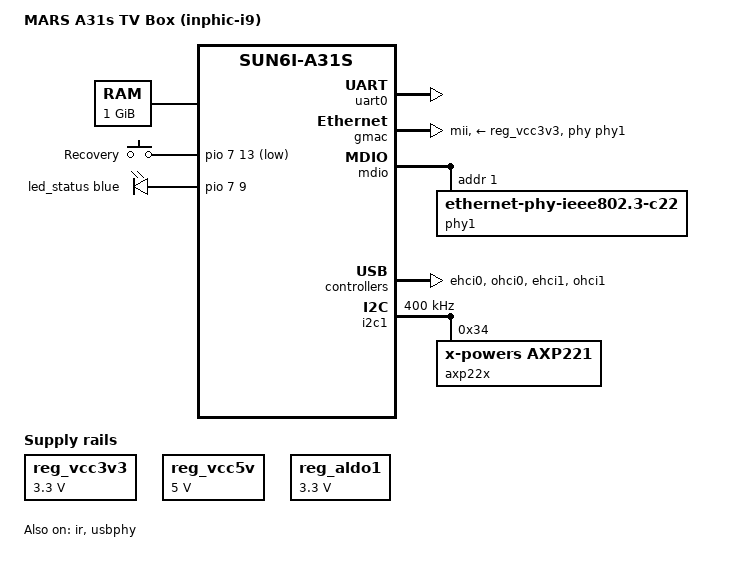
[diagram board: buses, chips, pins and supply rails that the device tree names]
/*
 * sun6i-a31s-mars-a31s.dts
 *
 * 目标设备：MARS A31s 电视盒子（inphic-i9 公版方案）
 *           Allwinner A31s (sun6i-a31s, quad Cortex-A7) + 1GB DDR3
 *           + 16GB NAND (4x H27UBG8T2B, 双通道/4 片选)
 * 移植目标：OpenWrt / Lean LEDE，主线内核 6.x
 *
 * ============================================================
 *  【本文件所有参数的来源分级 —— 改之前先看这里】
 * ============================================================
 *  [A] 实锤：安卓 TTL 串口日志 + adb shell + sys_config.fex + /proc/partitions
 *            + U-Boot mii/mdio 回显 + 官方 v6.12.119 源码逐字 互证
 *  [B] 公版推断：内核自带 sina31s-sdk.dts（同 SoC 官方开发板，见 ★改动8）
 *  [C] 未实测：照 A31 参考设计猜的，可能需要改 —— 全文搜 ⚠️ 定位
 *
 *  已知结论清单（[A] 级，不要改）：
 *    SoC       : sun6i-a31s，不是 sun6i-a31（A31 与 A31s 引脚/时钟有差异）
 *    DRAM      : 1GB DDR3 16bit 400MHz, dcdc5=1500mV, dram_zq=0xBB (fex [dram_para])
 *                ★改动6 依据: boot0 "dram size=1024" + U-Boot "DRAM: 1 GiB"
 *                            + /proc/iomem "40000000-430fffff / 4cb00000-7fffffff"
 *                              末址 0x7fffffff → 精确 1 GiB，三处互证
 *    PMIC      : AXP221 @ I2C 0x34 on TWI1 (PH16/17)，fex [pmu_para] 实锤
 *                DLDO1→网口PHY  DLDO4→axp_0  ALDO1→WiFi  DCDC5→DDR3
 *                U-Boot 日志逐字复述: dcdc1 3000 / dcdc2 1200 / dcdc3 1260
 *                                    dcdc4 1240 / dcdc5 1500 / aldo2 1800 / aldo3 3000
 *                ★改动14：本文件【不】声明 AXP221 节点，内核不建模任何 PMIC 轨；
 *                          这与「PMIC 硬件存在」不矛盾，U-Boot 按 script.bin 配好后原样保持。
 *    NAND      : H27UBG8T2B x8 MLC，页 8192+640 / 块 2MiB / ECC 20bit@1024B
 *                NAND ID = 4b248889（日志实测），chip_cnt=4
 *                nand_p0=0x28010020  nand_p1=0x00eeeeee（fex [nand0_para]）
 *    PHY       : ★改动15 校正 —— 板上真 PHY 是 IC+ IP101A / IP101G（10/100 MII），
 *                硬件 ID 0x02430C54。U-Boot "mii read 1 2 / 1 3" = 0243 / 0C54，
 *                "mii info 1" = OUI 0x90C3 Model 0x05 Rev 0x04 100baseT FDX，
 *                "mii read 1 0-5" range 六值全一致，官方 v6.12.119 icplus.c:67
 *                逐字 "#define IP101A_PHY_ID 0x02430c54" 双源互证。
 *                原「RTL8201F 系列」标注【收回】：那只是对 MDIO 地址 1 + MII 的误标，
 *                地址 0x01、MII 模式（fex gmac_interface=1）仍有效。
 *                U-Boot 交接态 BMCR 3100 / BMSR 786D = 已上电、Power Down=0、
 *                Reset 已自清、Link Up、AN Complete、100M 全双工；reg16 = 0000。
 *    WiFi      : RTL8188ETV，USB 0bda:0179，走 USB 自动枚举，DTS 零节点
 *                fex wifi_mod_sel=6 / wifi_usbc_id=1 / wifi_power=axp22_aldo1
 *    串口      : UART0 = PH20(TX)/PH21(RX)，115200n8
 *                ★ fex [uart_para] 实锤 + /proc/iomem "01c28000/01c28800 sw_serial"
 *                  上游 sun6i-a31.dtsi 的 uart0_ph_pins 也是这两脚
 *                  原写 PH0/PH1 是错的（见 ★改动1）
 *    IR        : PL04, 电源键码 0x1A, addr 0xFB04（fex [ir_para]）
 *                ★改动8/11: 引脚组 s_ir_rx_pin 由上游 sun6i-a31.dtsi
 *                  的 r_pio 提供（PL4 / function = "s_ir"），本文件不自造
 *    按键      : PH13 = sprite_gpio0 卡刷键（fex [card_boot]/[boot_init_gpio]）
 *                ★ 注意：官方 sina31s-sdk.dts 把 PH13 当状态 LED，
 *                  本机 PH13 是卡刷键、PH09 才是蓝灯 —— 【不要照抄官方 LED】
 *    mmc0      : ★改动7 —— 卡槽【硬件存在但无卡】（日志 "cmd 8 timeout" =
 *                无卡响应；fex [mmc0_para] sdc_used=1 + PA4 CD 脚说明硬件在）。
 *                官方 sina31s-sdk.dts 同写 cd-gpios = <&pio 0 4 GPIO_ACTIVE_LOW>
 *                （PA4），与本 .fex 完全一致。本文件仍【不声明】（FEL 阶段不需要）。
 *    HDMI      : GM7121 外接编码器，主线无驱动，本文件【不声明】disp/tv/hdmi
 *                （官方 sina31s 是 SoC 内置 HDMI，与本机不同，不可照抄 &hdmi）
 *    启动方式  : FEL 推内存 + initramfs，内核自带 rootfs，【不碰 NAND】
 *
 *  分区表（fex [partition] 与 /proc/partitions 双重验证，11/11 全对，单位 MB）：
 *    nanda=bootloader 16  nandb=env 16   nandc=boot 16   nandd=system 768
 *    nande=misc 16        nandf=recovery 32  nandg=private 16(keydata=1)
 *    nandh=databk 128     nandi=data 2560
 *    nandj=cache 32       ★改动6: 原写 512 —— fex 写 1048576 扇区(512M)，
 *                         但 U-Boot fastboot 实读 0x2000000 = 32MB，以实读为准
 *    nandk=UDISK 剩余(约 9714)
 *    ★ 没有任何单个分区是 16G，旧版把 system 写 400M/1568M/16G 全是错的
 *
 *  MAC 地址：
 *    wlan0 08:D8:33:0B:C4:03  ← IEEE 注册，真烧录，必保
 *    eth0  1E:47:EC:5F:E9:D9  ← 由 A31s SID efuse 算出，变则在
 *                                /etc/config/network 里 option macaddr 写死
 *    ★改动5: FEL 启动不跑原厂 U-Boot 的 SID 烧录逻辑，eth0 MAC 可能每次变，
 *            第一阶段就在 OpenWrt 侧写死，【不要】写进 DTS（会与 SID 冲突）。
 *            回退轮 ip -d link 实测 02:51:08:04:9a:70，与上面值不同，属已知漂移。
 *
 *  ★改动8（第二轮修正，依据官方 sun6i-a31s-sina31s-sdk.dts）：
 *    1) &gmac pinctrl-0: gmac_pins_mii（猜的）-> gmac_mii_pins（官方实名）
 *    2) &gmac phy-supply 曾改 &reg_dldo1（AXP221 DLDO1，官方名
 *       "vcc-gmac-phy" 3300mV，与 fex gmac_power=axp22_dldo1 吻合）
 *       —— ★改动13 又改过去，★改动14 已回退，原因见下
 *    3) IR: 删掉自造 ir_pl4_pin，改用官方节点 &ir + s_ir_rx_pin
 *       （★改动11 核实：该标签由上游 sun6i-a31.dtsi 的 r_pio 原生提供）
 *
 *  ★改动9（编译阻断级修复，第三轮）：
 *    删掉 #include "sun6i-a31s-sina31s-core.dtsi"
 *    —— 该文件第 43 行自带 /dts-v1/; 与本文件版本声明冲突，
 *       dtc 报 "core dtsi:43.1-9 syntax error" 直接 FATAL 中断 make dtbs。
 *    配套假设已被 ★改动11 推翻：gmac_mii_pins / s_ir_rx_pin 本来就由
 *    上游 sun6i-a31.dtsi 提供，自造附录反而造成 duplicate_label，
 *    现已整块删除，引用直接落到上游节点。
 *
 *  ★改动10（编译阻断级修复，第四轮）—— 收干净 ★改动9 的尾巴 + 原稿语法错：
 *    1) 第 255 行 label "led-status:" -> "led_status:"
 *       DTS label 不允许连字符，dtc 在主 dts:255.19-20 报 syntax error。
 *       这是原稿自带的错，之前被 dtsi:43 挡住没报出来（dtc 遇错即停）。
 *    2) 删掉悬挂的 &reg_dldo1 节点（其标签原本来自被删的 core dtsi），
 *       phy-supply 指回已声明的 reg_vcc3v3。
 *    3) 删掉附录里重复的第二份 &mdio / phy1（duplicate label + node），
 *       全文只保留 GMAC 章节一份。
 *    以上均为纯语法/引用层修复，【没动任何硬件值】：
 *       PH09 / PHY 地址 1 / MII / 1 GiB / 七路电压 全部保持实测值。
 *
 *  ★改动11（第五轮，依据用户提供的上游 sun6i-a31.dtsi 全文）：
 *    红点：sun6i-a31.dtsi:1397.29-1400.6 ERROR (duplicate_label)
 *          Duplicate label 's_ir_rx_pin' on
 *            /soc/pinctrl@1f02c00/s-ir-rx-pin  （上游 r_pio）
 *            /soc/pinctrl@1c20800/ir-rx-pin    （本文件自造附录）
 *    定性：dtc 已从 parse 进入 checks，是命名冲突，与引脚/电压/寄存器值无关。
 *    改动（同一根因：自造重复 pinctrl 组）：
 *      1) 删掉文件末尾附录整块 &pio，其中 gmac_mii_pins / s_ir_rx_pin
 *         与上游 label 重名（后者是当前红点，前者是排队等报的下一颗雷）。
 *         自造 IR 组还挂错控制器（PL4 属 r_pio 却塞进 pio）、
 *         function 写成 "ir"（上游为 "s_ir"）、MII 引脚列表也不对。
 *      2) 删掉自造 uart0_ph20_pins，&uart0 的 pinctrl-0 改指上游
 *         uart0_ph_pins（pins = "PH20","PH21" / function = "uart0"）。
 *      3) &gmac 的 &gmac_mii_pins、&ir 的 &s_ir_rx_pin 【一字不改】，
 *         删掉重名定义后自动解析到上游正确节点。
 *      4) &mdio 里重复的 #address-cells / #size-cells 删掉（上游
 *         snps,dwmac-mdio 已自带），贴合官方 sina31s-sdk.dts 写法。
 *    已核对上游原文，三组 label 名逐字一致，故引用无需改名。
 *    绝不使用 dtc -f 强制输出：重复 label 会让引用落到不确定节点。
 *
 *  ★改动12/13（第六轮，两刀一起落地）—— 【本轮都已修正/回退，留档不抹账】
 *    第一刀（★改动12）：phy1 的 compatible 换成 "ethernet-phy-id001c.c915"。
 *      原意是让专用 PHY 驱动被选中，治 "Failed to reset the dma"。
 *      后经源码 + 板上双重考证【判定写错，见 ★改动15】：该 ID 是 Realtek
 *      RTL8211E 千兆 PHY，且 DT 带 ethernet-phy-idXXXX.XXXX 时内核走
 *      phy_device_create() 直接注入、不读硬件 MDIO（官方 v6.12.119
 *      fwnode_mdio.c / phy_device.c 逐字），sysfs 的 phy_id 是自证循环。
 *    第二刀（★改动13）：在 &i2c1 下补 AXP221 最小节点 + DLDO1 真轨，
 *      &gmac phy-supply 指向它、&pio 补 vcc-pa-supply。
 *      上板 r8359 实锤：AXP221 读 ID 成功，但第一笔 I2C 写起
 *      "I2C bus locked, block: 1, time_left: 0"（3.859245 起每 2.080s 共 16 次），
 *      35.072531 "Failed to register dldo1" → 12.027480 gmac deferred probe
 *      pending → 第一刀挂空挡。干净 rebind 三次复现同模式，结构性不通。
 *
 *  ★改动14（第七轮，回退第二刀）—— 板上已验，当前基线
 *    改动（四处，全在本文件）：
 *      1) &gmac 的 phy-supply 由 &reg_dldo1 改回 &reg_vcc3v3
 *      2) 删掉 &i2c1 下整个 pmic@34（axp22x / dldo1）段，&i2c1 回到上游
 *         默认 disabled，内核不实例化这条总线上的任何设备
 *      3) 删掉 &pio 的 vcc-pa-supply（PA bank 回到 regulator-dummy，预期回归）
 *      4) 删掉只为 pmic@34 引入的 irq.h 头文件
 *    依据：官方 sun6i-a31.dtsi 的 gmac 节点本就不写 phy-supply，
 *      整份 dtsi 无 vcc3v3 / reg_vcc —— 「内核不通过 regulator 管这路网口电」
 *      就是上游基线，回退不是砍功能。
 *    回退轮锚点：rootfs 236,910,592 B / 0xE1EF800；
 *      fdt-1 23,988 B / crc32 160ad042 / sha1 efb7d0a272bbb1b6a1a9b65f9bc17a07e952fee6
 *      （DTS 改过，与 r8359 的 1bfa040b / f3476665... 不同，确认没吃缓存旧 dtb）；
 *      kernel sha1 6325d60d765f6f70d6fbf587c6d3e909b65fd79c。
 *      内核版本串仍是 6.12.119 ... Thu Nov 26 02:26:57 2026 / r8359-bc7f99dd4，
 *      与 r8359 逐字相同 —— 【锚点只能靠 FIT hash，不能靠版本串】。
 *    板上结果：无 I2C bus locked / 无 dldo1 / devices_deferred 空 /
 *      1.770106 打出 DWMAC1000 / 4.183049 绑 RTL8211E 千兆（错驱动，注入所致）；
 *      39.899343 "Failed to reset the dma" 回归老基线红点；
 *      0bda:0179 仍无枚举、wlan0 仍无。
 *      DT 级复核：i2c@1c2b000/status = disabled、pmic@34 与 supply 属性均无匹配、
 *      ethernet@1c30000/phy-supply 与 regulator-vcc3v3/phandle 同为 0x24。
 *
 *  ★改动15（本轮，唯一改动）—— 第一刀改回通用 c22，让内核真读硬件 ID
 *    证据链（板上逐字 + 官方 v6.12.119 源码逐字）：
 *      U-Boot "mii read 1 2 / 1 3" = 0243 / 0C54 → PHYID 0x02430C54；
 *      "mii dump 1 0/1" pretty-print 与逐位解读一致（Power Down=0 / Link Up /
 *      AN Complete / 100M FDX）；"mii read 1 0-5" range 六值全一致；
 *      "mii read 1 16" = 0000（IP10XX_SPEC_CTRL_STATUS，APS 未开）；
 *      "mdio list" = ethernet@1c30000: 1 - Generic PHY（U-Boot 侧绑定，
 *      与内核侧 DT 注入硬绑 RTL8211E 是两回事，别混）。
 *      官方 icplus.c:67 "#define IP101A_PHY_ID 0x02430c54"；驱动表两条
 *      "ICPlus IP101A" / "ICPlus IP101G"，用 ip101a_g_has_page_register()
 *      写 reg20 探测区分二者 —— 不预判最终绑哪条。
 *      MDIO 统计（回退轮内核侧）：transfers 41 / reads 24 / writes 17 / errors 0，
 *      mdio_bus.c 的 device 级组只统计 addr=1；但 0 errors 不等于读到有效数据
 *      （从机不响应读回 0xFFFF 是正数，照样计 reads 不计 errors）。
 *    改动：&mdio 的 phy1 只把 compatible 从
 *      "ethernet-phy-id001c.c915" 换成 "ethernet-phy-ieee802.3-c22"。
 *      官方 of_mdiobus_child_is_phy() 认 c22 → fwnode_mdiobus_register_phy()
 *      里 fwnode_get_phy_id() 对该串返回 -EINVAL → 走 get_phy_device()
 *      真读 MII_PHYSID1/2，顺带把「MDIO 通不通」一起验了。
 *      （整行删掉 compatible 等价，但留 c22 更贴近上游写法。）
 *      reg = <1> / phy-mode = "mii" / phy-handle / phy-supply 全部不动。
 *    一次只动一个变量：第一刀这一处之外，.config / yml / diy-part2.sh /
 *      kernel-patches/ 的 999-mv64xxx 补丁（已上板判无效、无害）一律不动。
 *    验收口（进 shell 后按顺序）：
 *      1) cat /sys/bus/mdio_bus/devices/stmmac-0:01/phy_id → 期望 0x02430c54
 *         若 PHY 注册失败 / 读回全 1，反而直接坐实内核阶段 MDIO 或 PHY 有问题
 *      2) cat 同目录 uevent、dmesg | grep -i -E 'ip101|icplus|PHY|stmmac'
 *         → 期望驱动名 ICPlus IP101A 或 ICPlus IP101G，不再是 RTL8211E
 *      3) dmesg | grep -i 'Failed to reset' → 看 DMA 红是否消失
 *      4) 查看 /sys/class/net 下的接口 → 看 eth0 是否真起来
 *    已知源码侧预期动作（不是异常）：绑上正确驱动后 ip101a_config_init()
 *      会 phy_set_bits(phydev, 16, BIT(1)) 开 Auto Power Saving，
 *      reg16 由 0000 变 0002 属正常；APS 是否影响 RXC 上板前不预判。
 *    诚实代价：DMA 红可能仍在。6.12 stmmac_main.c:1228 设
 *      mac_requires_rxc = true、mac_managed_pm = true，缺 6.18+ 那批
 *      phylink_prepare_resume() 补丁 → 「内核 probe→open 之间把 PHY 挂起、
 *      RXC 断掉 → dwmac_dma_reset() 写 SWR 后 200ms 不自清」仍是开着的推断，
 *      不是结论。若红还在，下一刀才轮到源码侧查 PM / 给 MAC 打 resume，
 *      【不是】把 ★改动13 的 TWI1 I2C 运行时注册原样贴回来。
 *    判定口径（用户拍板）：网口 + WiFi 都能用且固件正常运行 → I2C 这条线
 *      就不再回来；只有 DMA 红还在 / 0bda:0179 仍不枚举，才坐实必须回头攻电，
 *      且那时也应换实现（U-Boot 侧确认 DLDO1/ALDO1、PHY resume、时钟侧）。
 *      U-Boot 阶段 PHY 已 link up 说明 U-Boot 按 script.bin 配的电够用，
 *      把「必须内核建模 DLDO1」推得更远，但不是证伪供电变量本身。
 *    WiFi 不在这轮范围：一次只动一个变量。0bda:0179 双阶段不枚举、
 *      ALDO1 未建模是原有缺口，等网口这轮出结论再单独开线。
 *
 *  编译与运行：
 *    1) 放到内核树 arch/arm/boot/dts/allwinner/sun6i-a31s-mars-a31s.dts
 *       （Linux 6.6+ DTS 按 vendor 分目录；6.1 及以前放 arch/arm/boot/dts/）
 *    2) OpenWrt 侧 target/linux/sunxi/image/cortexa7.mk 加 Device 块，SOC 填 sun6i-a31s
 *    3) .config 必须勾 CONFIG_TARGET_ROOTFS_CPIOGZ=y，否则推内存没有 rootfs
 *    4) 产物: openwrt-sunxi-cortexa7-*-initramfs-kernel.bin
 *       sunxi-fel write 0x43000000 <上面的bin> && sunxi-fel bootz 0x43000000
 *       地址 0x43000000 取自本机 U-Boot 日志 "fatload nand 0 43000000 script.bin"
 *       ★ 注意：上面第 4 条是旧版设计的历史记录，与板上实测跑通的
 *         FIT + TFTP 裸 cpio + rdinit 链不符，【不要照它改回去】。
 *    5) 全程只写 RAM，断电即恢复原安卓，NAND 一个字节不动
 *
 *  历史坑（别再踩）：
 *    x 曾写成 #include "sun6i-a31.dtsi"  -> A31≠A31s，全盘时钟/引脚继承错误
 *    x 曾写 compatible = "allwinner,sun6i-a31s","allwinner,sun6i-a31" -> 顺序反了
 *    x 曾写 &mmc0 { status="okay"; non-removable } -> 无卡，内核 panic
 *    x 曾写 root=/dev/mmcblk0p2 -> initramfs 下根本没有这个设备节点
 *    x 曾抄 400M/1568M/16G 的 NAND 分区表 -> 本机实为 768M/2560M，照写会覆盖数据
 *    x uart0 曾写 PH0/PH1 -> 实为 PH20/PH21，照抄会导致内核起来串口全黑
 *    x LED 曾写 PH2（纯猜）-> ★改动4 实为 PH09（U-Boot 翻转实测）
 *    x GMAC 组名曾写 gmac_pins_mii（猜）-> ★改动8 官方实为 gmac_mii_pins
 *    x PHY 供电曾挂自造 3.3V -> ★改动8 改 &reg_dldo1 -> ★改动10 删 core dtsi
 *      后该标签无定义源，回退 reg_vcc3v3 -> ★改动13 改为本文件自建真轨
 *      -> ★改动14 整刀回退（I2C 结构性不通），当前 phy-supply = &reg_vcc3v3
 *    x PHY 型号曾标 RTL8201F / 曾注入 RTL8211E 的 ID -> ★改动15 收回，
 *      板上真身 IC+ IP101A/G，ID 0x02430C54，改回通用 c22 真读 MDIO
 *    x 照抄官方 sina31s 的 LED(PH13)/HDMI/OTG -> 本机 PH13 是卡刷键、HDMI 是 GM7121
 *    x 曾自造 gmac_mii_pins / s_ir_rx_pin / uart0_ph20_pins 三组
 *      -> 上游全有，重名致 dtc duplicate_label 中断（★改动11 已删）
 *    x dd bs=1M 在安卓 toybox 失效 -> 必须 bs=1024，也不认 status=progress
 *    x 注释里出现 glob 星号斜杠会被 cpp 当成注释结束符提前闭合，
 *      残留文本变成代码（★改动10 附带修复）—— 本文件注释内不写该串
 * ============================================================
 */

/dts-v1/;
#include "sun6i-a31s.dtsi"          /* [A] 必须是 a31s，不是 a31 */
/*
 * ★改动9（编译阻断级修复）：【不要】include "sun6i-a31s-sina31s-core.dtsi"
 *
 * 该文件第 43 行自带 "/dts-v1/;"，而本文件第 101 行已有版本声明，
 * cpp 展开后文件中间又出现版本声明，dtc 直接报错退出：
 *     Error: sun6i-a31s-sina31s-core.dtsi:43.1-9 syntax error
 *     FATAL ERROR: Unable to parse input tree
 * （43.1-9 即第 43 行行首 9 字符 = "/dts-v1/"，已核对上游原文确认）
 *
 * 删掉它【不丢任何符号】：
 *   sun6i-a31s.dtsi            -> 上一行已直接 include（SoC/&pio/&gmac/&ir/&uart0）
 *   sunxi-common-regulators    -> 本文件自带 reg_vcc3v3 / reg_vcc5v
 *   &reg_dldo1                 -> ★改动14 已整刀回退，当前无任何引用
 *   &mdio                      -> 标签本就来自 SoC dtsi，只需补 PHY 子节点
 *   gmac_mii_pins/s_ir_rx_pin  -> 上游 sun6i-a31.dtsi 原生提供，
 *                                ★改动11 已删本文件自造的重复附录
 * 上游那份 dtsi 在主线里也只被 sina31s.dts 一家引用，非公共 SoC 头。
 */
#include <dt-bindings/gpio/gpio.h>
#include <dt-bindings/pinctrl/sun4i-a10.h>

/*
 * 注意：KEY_* / LED_FUNCTION_* 这几个宏的头文件路径在内核版本间挪过位置。
 *   - 6.x : dt-bindings/input/linux-event-codes.h
 *   - 5.x : dt-bindings/input/input.h
 * 若编译时报 "KEY_RESTART undeclared"，把下面这行换成 6.x 的那个路径。
 * 本文件只在 gpio-keys 里用到一个 KEY_RESTART，实在不行可以直接写 <0x198> 绕开。
 */
#include <dt-bindings/input/input.h>
#include <dt-bindings/leds/common.h>

/ {
    /*
     * [A] compatible 格式：先"厂商,板名"，再"厂商,SoC名"。
     * 顺序不能反 —— 内核按这个列表从头匹配 machine desc，
     * SoC 名放第一位会匹配到 A31 通用项，时钟和引脚全错。
     */
    model = "MARS A31s TV Box (inphic-i9)";
    compatible = "inphic,mars-a31s", "allwinner,sun6i-a31s";

    /*
     * [A] SDRAM 基址 0x40000000，容量 1GB = 0x40000000
     * 主线内核下 U-Boot 会自行修正实际大小（dram_para_set 已跑通），
     * 这里声明只是给早启动阶段看的。
     * 三证：boot0 "dram size=1024" / U-Boot "DRAM: 1 GiB" /
     *      /proc/iomem 末址 0x7fffffff
     */
    memory@40000000 {
        device_type = "memory";
        reg = <0x40000000 0x40000000>;
    };

    aliases {
        serial0 = &uart0;           /* [A] TTL 调试口，必须保留 */
        ethernet0 = &gmac;          /* [A] 固定 eth0，防止按探测顺序改名 */
    };

    chosen {
        /*
         * [A] 启动参数 —— FEL/initramfs 专用，与 SD/NAND 方案完全不同
         *
         *   console=ttyS0,115200 -> 调试串口（PH20/PH21，接 TTL 那个口）
         *                           实测原厂 bootargs 同值；官方 sina31s
         *                           stdout-path 也写 115200n8，三处一致
         *   earlyprintk          -> 内核解压阶段就出字，卡死在 early boot 时能定位
         *   loglevel=8           -> 全量日志。第一次跑必开，定稿后再降到 4
         *                           （原厂 Android 用 loglevel=4）
         *   vmalloc=384M         -> 取自原厂实测 bootargs；/proc/meminfo
         *                           VmallocTotal=385024 kB 印证
         *
         * 【没有 root= 参数，这是故意的】
         *   rootfs 已经打进内核镜像（initramfs），内核自己挂 rootfs，
         *   写 root=/dev/xxx 反而会让它去找不存在的设备然后 panic。
         *   ★ 注意：原厂 Android 是 root=/dev/system init=/init —— 那是
         *   全志私有 nftl 设备名 + Android init，【绝不可照抄】，
         *   主线内核没有 nftl 驱动，照抄必卡启动。
         *   等将来真要落 NAND，再改 ubi.rootfstype=ubi ubi.mtd=X root=ubi0:xxx
         */
        bootargs = "console=ttyS0,115200 earlyprintk loglevel=8 vmalloc=384M";
        stdout-path = "serial0:115200n8";
    };

    /* ========================================================
     *  供电与时钟的固定稳压器
     *  主线 sunxi 驱动（USB PHY / MMC / 音频）会去查这些 supply，
     *  不声明会刷一堆 "XXX supply not found, using dummy regulator" 的噪声。
     *  这些是板子上本来就有的固定 3.3V/5V，不是 PMIC 可调轨。
     *  ★改动14 后：&gmac 的 phy-supply 已回退到 reg_vcc3v3，
     *    这是无 GPIO 的 always-on 假轨，内核账本记 3300mV、物理上不动作；
     *    这是官方 sun6i-a31.dtsi 的本来形态（gmac 不写 phy-supply），
     *    U-Boot 按 script.bin 配好的 DLDO1 电压原样保持，内核不碰。
     *    回退轮 regulator_summary 实锤 1c30000.ethernet-phy 挂在 vcc3v3 下。
     * ======================================================== */
    reg_vcc3v3: regulator-vcc3v3 {
        compatible = "regulator-fixed";
        regulator-name = "vcc3v3";
        regulator-min-microvolt = <3300000>;
        regulator-max-microvolt = <3300000>;
        regulator-always-on;
        regulator-boot-on;
    };

    reg_vcc5v: regulator-vcc5v {
        compatible = "regulator-fixed";
        regulator-name = "vcc5v";
        regulator-min-microvolt = <5000000>;
        regulator-max-microvolt = <5000000>;
        regulator-always-on;
        regulator-boot-on;
    };

    /* ========================================================
     *  [A] GPIO 按键 —— 恢复/卡刷键
     *  ★改动2：PH0 → PH13
     *    fex [card_boot] sprite_gpio0 = port:PH13<1><default><default><1>
     *    fex [boot_init_gpio] gpio_pin_1 = port:PH13（输出高）
     *    U-Boot 寄存器实读印证: PH CFG1=0x77133372 (PH13 mux=1 输出)
     *                          PH DAT  =0x00002000 (bit13 = 1 高电平)
     *    PH13 = 7 * 32+13 = 237。原写 PH0（index 224）无依据，已废弃。
     *  ⚠️ 官方 sina31s-sdk.dts 把 PH13 用作状态 LED —— 那是开发板的接法，
     *     本机 PH13 是卡刷键、状态灯是 PH09，【不要照抄官方】。
     *  若串口出现 "gpio-keys: no keys defined"，去 b_nandc.bin 原厂 DTB 核对。
     * ======================================================== */
    gpio-keys {
        compatible = "gpio-keys";
        autorepeat;

        key-recovery {
            label = "Recovery";
            linux,code = <KEY_RESTART>;
            gpios = <&pio 7 13 GPIO_ACTIVE_LOW>;    /* ★改动2: PH13, index 237 */
            wakeup-source;
        };
    };

    /* ========================================================
     *  [A] 状态 LED —— 蓝灯 PH09，U-Boot 实测翻转确认
     *  ★改动4：PH2 → PH9（原为 [C] 级猜测，已升为 [A] 级）
     *    实测（U-Boot 命令行）：
     *      mw.l 0x01C2090C 0x00000000  -> 蓝灯灭（PH 全组拉低）
     *      mw.l 0x01C2090C 0x00000200  -> 蓝灯亮（只拉 PH09 高）
     *    三处互证：fex ninss_gpio=PH9<1>末位高 / CFG1=0x77133372 / DAT bit9=1
     *    极性：高电平亮 -> GPIO_ACTIVE_HIGH；PH09 = 7*32+9 = 233
     *
     *  红灯：PA/PH/PC/PF/PG/PL 六组扫过全无反应，/sys/class/leds 不存在，
     *      留 TODO（可能在 PB/PD/PE，或接 AXP221 CHGLED）。
     * ======================================================== */
    leds {
        compatible = "gpio-leds";

        /* ★改动10（本轮红点）：DTS label 只允许 [A-Za-z_][A-Za-z0-9_]*，
         *   不能含连字符。原 "led-status:" 让 dtc 把整串当节点名，
         *   随后撞上 ":" 在 255.19-20 报 syntax error。
         *   节点名 "status" 不变；全文无 &led-status 引用，改 label 无副作用。 */
        led_status: status {
            function = LED_FUNCTION_STATUS;
            color = <LED_COLOR_ID_BLUE>;            /* ★改动4: 实测蓝灯 */
            gpios = <&pio 7 9 GPIO_ACTIVE_HIGH>;    /* ★改动4: PH09, index 233 */
            default-state = "on";
            linux,default-trigger = "heartbeat";    /* 灯亮=内核跑到 pinctrl */
        };
    };

    /* ========================================================
     *  ★改动8/11: 删掉自造的 "ir" 节点内容与自定义 ir_pl4_pin，
     *  改用官方 sina31s 的写法 —— 只开 &ir 并指向 s_ir_rx_pin。
     *  &ir 节点本体（compatible / clocks / clock-names / resets /
     *  interrupts / reg）由上游 sun6i-a31.dtsi 提供，本文件只补 pinctrl
     *  与 status。s_ir_rx_pin 同样来自上游 r_pio（pinctrl@1f02c00）：
     *      s_ir_rx_pin: s-ir-rx-pin { pins = "PL4"; function = "s_ir"; };
     *  与 fex [ir_para] ir_rx = port:PL04<2> 完全吻合。
     *  电源键码 0x1A, addr 0xFB04；键码表另配 /etc/rc_keymaps，第一阶段可不管。
     * ======================================================== */
};

/* ============================================================
 *  ★改动11: 本文件【不再自定义任何 pinctrl 组】。
 *
 *  已核对上游 sun6i-a31.dtsi 原文（编译机 6.12 树），以下三组原生存在：
 *    pio   (pinctrl@1c20800):
 *      uart0_ph_pins : uart0-ph-pins { pins = "PH20","PH21"; function = "uart0"; };
 *      gmac_mii_pins : gmac-mii-pins { 18 根 PA 脚; function = "gmac"; };
 *    r_pio (pinctrl@1f02c00):
 *      s_ir_rx_pin   : s-ir-rx-pin   { pins = "PL4"; function = "s_ir"; };
 *
 *  原先自造的 uart0_ph20_pins / gmac_mii_pins / s_ir_rx_pin 全部删除：
 *    - 后两者与上游 label 重名 -> dtc 报 duplicate_label（第三个红点）
 *    - 自造 IR 组还挂错控制器、function 写错、MII 引脚列表也不对
 *  引用直接改用上游标签，一个硬件值都没重猜。
 *
 *  ★改动14: &pio 的 vcc-pa-supply 也已删除（原本指向 dldo1）。
 *    PA bank 回到 regulator-dummy，回退轮 1.561043 的
 *    "supply vcc-pa not found, using dummy regulator" 是预期回归，不是故障。
 * ============================================================ */

/* ============================================================
 *  ★改动13 的 &i2c1 / pmic@34 / dldo1 整段【已由 ★改动14 删除】。
 *
 *  留档原因（不抹账）：该刀曾上板 r8359，AXP221 读 ID 成功但
 *  I2C bus locked 三次独立复现（开机 / bind / rebind），dldo1 注册失败
 *  导致 gmac deferred probe pending。本机 TWI1 / 0x34 的硬件依据仍成立，
 *  但「在 TWI1 上靠 I2C 运行时注册 regulator」这条实现层已判定结构性不通。
 *
 *  当前状态：&i2c1 保持上游 sun6i-a31.dtsi 默认 status = "disabled"，
 *  本文件不写任何 &i2c1 覆盖段、不写任何 PMIC 节点、不写 vcc-pa-supply，
 *  也不 include axp22x.dtsi 或 core dtsi。内核本轮完全不碰这条 I2C 总线。
 *  回退轮板上 DT 级复核：i2c@1c2b000/status = disabled，
 *  pmic@34 与 supply 属性 glob 均无匹配。
 *
 *  ★改动14 同时删掉了只为 pmic@34 的 IRQ_TYPE_LEVEL_LOW 引入的 irq.h，
 *  全文再无该宏引用；本轮 ★改动15 也不重新引入。
 * ============================================================ */

/* ============================================================
 *  UART0 —— 调试串口
 *  [A] 必须 okay，否则内核起来后一片黑
 *  ★改动1/11：最终 pinctrl-0 = <&uart0_ph_pins>（上游 sun6i-a31.dtsi
 *    原生组，pins = "PH20","PH21" / function = "uart0"）。
 *    自造 uart0_ph20_pins 已删（★改动11），避免留下悬挂引用。
 *    依据 fex [uart_para] + /proc/iomem "sw_serial" 双证
 * ============================================================ */
&uart0 {
    pinctrl-names = "default";
    pinctrl-0 = <&uart0_ph_pins>;                   /* ★改动11: 上游实名 */
    status = "okay";
};

/* ============================================================
 *  GMAC —— 百兆以太网
 *
 *  [A] 实测依据：
 *      /sys/class/mdio_bus/        -> stmmac-0
 *      /sys/bus/mdio_bus/devices/  -> stmmac-0:01   ← PHY 地址 = 1
 *      /proc/iomem "01c30000-01c31054 : sunxi_gmac" 印证基址
 *      fex [gmac_para] gmac_interface=1 (MII，16 根数据线，非 RMII)
 *                      gmac_power = "axp22_dldo1"
 *      U-Boot "mii read 1 2 / 1 3" = 0243 / 0C54  → PHYID 0x02430C54
 *  [B] 官方 sina31s-sdk.dts 同款写法：
 *      pinctrl-0 = <&gmac_mii_pins> / phy-mode = "mii" /
 *      phy-handle = <&phy1>
 *
 *  phy-supply 沿革（四轮，当前停在 ★改动14）：
 *    ★改动8 指 &reg_dldo1 → ★改动10 删 core dtsi 后标签悬挂，
 *    临时回退 reg_vcc3v3 → ★改动13 本文件自建 &reg_dldo1 真轨
 *    → ★改动14 整刀回退到 &reg_vcc3v3。
 *    官方 sun6i-a31.dtsi 的 gmac 根本不写 phy-supply，整份 dtsi 无
 *    vcc3v3 / reg_vcc —— 本行是板级额外加的假轨，不是上游必需项。
 *    回退理由与板上结果见文件头 ★改动14，此处不重复。
 *
 *  39.899343 "Failed to reset the dma" 是回退轮老基线红点（非新故障）：
 *    stmmac_init_dma_engine() 调 stmmac_reset() → dwmac_dma_reset() 写
 *    DMA_BUS_MODE_SFT_RESET 后 readl_poll_timeout(10ms, 200ms) 等自清超时。
 *    官方 stmmac_main.c:1228 设 mac_requires_rxc = true。根因未坐实，
 *    ★改动15 先修「绑错驱动」这一个变量。
 *
 *  若 ifconfig eth0 up 报 "PHY connection failure"，【一次只动一个变量】：
 *    1) 确认 gmac_mii_pins 由上游 sun6i-a31.dtsi 提供（★改动11 已核对原文）
 *    2) 才去试 phy-mode = "rmii" + rmii 引脚组
 *    3) 查 PHY 是否被内核挂起（对照 U-Boot 的 BMCR 3100 / BMSR 786D）
 *       ★改动10 附带修复：原写法含 glob 星号斜杠，会被 cpp 当成注释结束符
 *       提前闭合本注释块，残留文本变成代码，又是下一个语法红点。
 * ============================================================ */
&gmac {
    pinctrl-names = "default";
    pinctrl-0 = <&gmac_mii_pins>;                   /* ★改动8: 官方实名 */
    phy-mode = "mii";                               /* [A] 16 根数据线 = MII */
    phy-handle = <&phy1>;                           /* ★改动8: 与官方标签对齐 */
    phy-supply = <&reg_vcc3v3>;                     /* ★改动14: 回退到假轨/上游基线 */
    status = "okay";
};

/*
 * ★改动10/11: 全文【唯一】的 &mdio 块与 phy1 定义。
 *   &mdio 标签由上游 sun6i-a31.dtsi 的 gmac 节点内提供，且已自带
 *   #address-cells / #size-cells（compatible = "snps,dwmac-mdio"），
 *   本文件不再重复声明，只补 PHY 子节点。
 *   官方 sina31s-sdk.dts 与本机实测同写 reg = <1>，两源互证。
 */
&mdio {
    phy1: ethernet-phy@1 {
        reg = <1>;                                  /* [A] 实测地址，非 0 */
        /*
         * ★改动15（本轮唯一改动，替代 ★改动12）：
         *   ★改动12 写 "ethernet-phy-id001c.c915" 是【错的】——
         *   那是 Realtek RTL8211E 千兆的 ID，且 DT 带该串时内核走
         *   phy_device_create() 直接注入、不读硬件 MDIO
         *   （官方 v6.12.119 fwnode_mdio.c / phy_device.c 逐字实锤）。
         *   U-Boot "mii read 1 2 / 1 3" = 0243 / 0C54 才是板上真值
         *   → PHYID 0x02430C54 = IC+ IP101A / IP101G（10/100 MII）。
         *
         *   改回通用 c22：官方 of_mdiobus_child_is_phy() 认该串 →
         *   fwnode_mdiobus_register_phy() 里 fwnode_get_phy_id() 对 c22
         *   返回 -EINVAL → 走 get_phy_device() 真读 MII_PHYSID1/2，
         *   顺带把「内核阶段 MDIO 通不通」一起验了。
         *   （整行删掉 compatible 等价，但留 c22 更贴近上游写法。）
         *
         *   期望绑到 icplus.c 的 "ICPlus IP101A" 或 "ICPlus IP101G"，
         *   两者由 ip101a_g_has_page_register() 写 reg20 探测区分，不预判。
         *   详细证据链、验收口与诚实代价见文件头 ★改动15。
         */
        compatible = "ethernet-phy-ieee802.3-c22";
    };
};

/* ============================================================
 *  ★改动8/11: IR —— 官方写法。
 *  s_ir_rx_pin 由上游 sun6i-a31.dtsi 的 r_pio (pinctrl@1f02c00) 提供，
 *  本文件删掉自造同名组后，该引用自动落到正确节点。
 * ============================================================ */
&ir {
    pinctrl-names = "default";
    pinctrl-0 = <&s_ir_rx_pin>;                     /* ★改动8: 官方组名 */
    status = "okay";
};

/* ============================================================
 *  USB —— WiFi 的生命线
 *
 *  [A] RTL8188ETV 挂 USB（0bda:0179），USB 不起来 WiFi 就没戏。
 *  日志显示 WiFi 在总线 1 -> EHCI1/OHCI1。fex wifi_usbc_id=1 印证。
 *  官方 sina31s 也开 ehci0/ehci1/ohci1，策略互相印证（本文件多开 ohci0，
 *  全速兼容、无设备不枚举，无副作用）。
 *  回退轮实测 U 盘在 usb 2-1（EHCI 1c1b000，bus 2），编号漂移不影响判断。
 *
 *  [A] VBUS：fex [usbc0]/[usbc1] usb_drv_vbus_gpio 为空 -> PMU 直供；
 *      只有 [usbc2] 用 PC27。故 USB0/1 写常开 5V 是对的。
 *      若 lsusb 看不到 0bda:0179，九成是 AXP221 ALDO1（wifi_power）没开，
 *      【不要】盲写 GPIO（写错脚会把 USB 口电搞反）。
 *      r8359（有 DLDO1 真轨）与回退轮（PMIC 整段删掉）双轮都没有
 *      0bda:0179 枚举行 → 「内核是否建模 DLDO1」这个变量已排除；
 *      ALDO1 未建模是原有缺口，本轮 ★改动15 不涉及 WiFi，单独开线再验。
 * ============================================================ */
&usbphy {
    status = "okay";
    usb1_vbus-supply = <&reg_vcc5v>;                /* [A] PMU 直供 */
};

&ehci0 { status = "okay"; };    /* [A] USB 通道 0 高速 */
&ohci0 { status = "okay"; };    /* [A] USB 通道 0 全速（本文件额外开的） */
&ehci1 { status = "okay"; };    /* [A] USB 通道 1 高速 —— WiFi 在这条上 */
&ohci1 { status = "okay"; };    /* [A] USB 通道 1 全速 */

/* ============================================================
 *  以下硬件，本阶段【故意不写】，留档说明原因，免得以后又有人加回来
 * ============================================================
 *
 *  【nand / nandc 控制器 + 分区表】—— 本阶段一行都不写
 *     NAND 里是完整可用的安卓，备份已在电脑上。主线 sunxi-nand 驱动
 *     【极性敏感】，一旦挂上扫描可能触发擦写/坏块表更新，直接毁原系统。
 *     参数已备齐（页8192/OOB640/块2MiB/ECC20bit@1024B/4片选/
 *     nand_p0=0x28010020 / nand_p1=0x00eeeeee），等 FEL 方案全绿后
 *     单独开 nand-part.dtsi 挂进来。分区照抄（★改动6 已校准）：
 *       bootloader 16M / env 16M / boot 16M / system 768M / misc 16M /
 *       recovery 32M / private 16M / databk 128M / data 2560M /
 *       cache 32M(★非512M) / UDISK 剩余(约 9714M)
 *
 *  【mmc0 / SD 卡槽】—— ★改动7：卡槽硬件在，但无卡，本阶段仍不声明
 *     日志 "mmc 0 cmd 8 timeout" = 无卡响应；fex sdc_used=1 + PA4 CD 脚。
 *     官方 sina31s-sdk.dts 同写 cd-gpios = <&pio 0 4 GPIO_ACTIVE_LOW>（PA4）。
 *     声明它会让内核轮询空卡槽，rootfs 找不到直接 panic。
 *     等落 NAND / 插 SD 启动再开：
 *       &mmc0 { vmmc-supply = <&reg_dcdc1>; bus-width = <4>;
 *               cd-gpios = <&pio 0 4 GPIO_ACTIVE_LOW>; status = "okay"; };
 *
 *  【mmc1 / SDIO】—— fex 标 sdc_isio=1（PG00~PG05），但 WiFi 走 USB，
 *     本机该总线挂了什么未知，等原厂 DTB 出来再定。
 *
 *  【disp / hdmi / tv / lcd】—— 主线无驱动，且本机与官方不同
 *     HDMI 是外接 GM7121 编码器（fex tv_module_name="gm7121"），
 *     【不是】SoC 内置 HDMI PHY。官方 sina31s 的 &hdmi / hdmi-connector /
 *     &de 是开发板内置 HDMI，【不可照抄】，写了也不出图。
 *     U-Boot 日志: output_type=3 / mode=5 / "[TV] gm7121_module_init finish!"
 *     调试期只用 TTL 串口（PH20/PH21）。
 *
 *  【codec / spdif / lradc 按键】—— 官方 sina31s 有，本机未验证
 *     fex 里 audio/lradc 相关段未实锤，第二阶段再验，先不加。
 *
 *  【BT / RTL8723BS】—— 后补
 *     fex bt_uart_id=2 -> UART2 (PG06/PG07)。日志有 rtk_btusb，
 *     走 USB 枚举，DTS 零节点，只需 .config 勾 kmod-btrtl + 固件。
 *
 *  【AP6181 / 触摸屏 / 摄像头 / 3G / G-sensor】—— 空贴或未装配
 *     fex 里 rtp/ctp/lcd/vip/3g/gsensor 全 used=0，一个字都不要加。
 *
 *  【AXP221 全部 regulator 轨】—— ★改动14 后本文件【完全不声明】PMIC 节点。
 *     硬件上 AXP221 在 TWI1 / 0x34（fex 实锤），U-Boot 已按 script.bin
 *     配好七路电压；内核不注册就不会在 late_init 关掉它们。
 *     尤其 ALDO1（WiFi 供电）仍未建模，是 0bda:0179 不枚举的原有缺口，
 *     等 WiFi 单独开线时再评估。完整七路映射等 b_nandc.bin 原厂 DTB
 *     比对后再补；手写容易把 DLDO1(网口)/ALDO1(WiFi) 配错导致外设没电。
 *     ★改动13 那套「TWI1 + I2C 运行时注册 dldo1」已上板证死，别贴回来。
 *
 *  【红灯 GPIO】—— TODO
 *     六组扫过无反应 + /sys/class/leds 不存在。要么在 PB/PD/PE，
 *     要么接 AXP221 CHGLED（插 USB 充电时若亮/闪即是，届时用
 *     axp221-chgled 而非 gpio-leds）。
 * ============================================================
 */

/* ============================================================
 *  ★改动11: 【原「自定义 pinctrl 附录」整块已删除】
 *
 *  这里曾有 &pio { gmac_mii_pins / s_ir_rx_pin } 两组自造定义，
 *  是 ★改动9 删掉 core dtsi 时「怕丢符号」补上的，结果补成了重复：
 *    - gmac_mii_pins / s_ir_rx_pin 与上游 sun6i-a31.dtsi 的 label 重名
 *      -> dtc checks 阶段 duplicate_label（第三个红点 + 排队的一颗）
 *    - 自造 IR 组挂在 pio 而非 r_pio、function 写成 "ir" 而非 "s_ir"
 *    - 自造 MII 引脚列表与上游不符
 *  上游原文已核实：这两组 label 名与我们的引用逐字一致，故
 *    &gmac { pinctrl-0 = <&gmac_mii_pins>; }  不改
 *    &ir   { pinctrl-0 = <&s_ir_rx_pin>;  }  不改
 *  删除自造定义后，引用自动落到上游正确节点。
 *
 *  ★改动13 曾给 &pio 补过 vcc-pa-supply（supply 属性，不是引脚组），
 *  ★改动14 已一并删除，当前本文件无任何 &pio 覆盖段。
 *
 *  【不要再往这里加自定义引脚组】—— 需要新组时先查上游
 *  arch/arm/boot/dts/allwinner/sun6i-a31.dtsi 的 pio / r_pio 节点。
 * ============================================================ */

/*
 * ★改动10 记录：附录里原先那份 &mdio + phy1 已删除。
 *   它和 GMAC 章节的 &mdio 构成 duplicate label "phy1" +
 *   duplicate node "ethernet-phy@1"，是删 core dtsi 时的收尾残留。
 *   全文现在只在 GMAC 章节保留一份，&mdio 标签由上游 SoC dtsi 提供。
 *
 * ===== 配套：OpenWrt 侧（不进 DTS）=====
 * /etc/config/network 里写死 eth0 MAC（★改动5）：
 *   config device
 *       option name 'eth0'
 *       option macaddr '1E:47:EC:5F:E9:D9'
 * 原因：FEL 启动不跑原厂 U-Boot 的 SID 烧录逻辑，eth0 MAC 可能每次变。
 *
 * ===== 下轮上板注意（★改动15 轮）=====
 * - DTS 改过 → fdt-1 的 crc32 / sha1 必然不再是回退轮的
 *   160ad042 / efb7d0a272bbb1b6a1a9b65f9bc17a07e952fee6；
 *   iminfo 仍应 hash OK，若 hash 没变 = 编进了缓存旧 dtb，别往下走。
 * - bootm 的 SIZE 用本轮 tftpboot 回显的 Bytes transferred，
 *   别复用回退轮的 0xE1EF800；FIT 与裸 cpio 必须同轮全换。
 * - U-Boot 环境变量断电全失，整条重敲；编译日志顺手核
 *   503-backports-adapt-stable-wireless-apis.patch 已应用、
 *   不再出现删 shim 的 999；sdcard boot.scr 红点照红照收。
 * - 关机前另存完整串口日志，U-Boot mii 只读轮锚点
 *   （PHYID 0x02430C54 / BMCR 3100 / BMSR 786D / reg16 0000）
 *   与本轮 fdt hash 一起记，别和 r8359 / 回退轮混用。
 */
/*
 * AXP221S PMIC + ALDO1 (vcc-wifi) for the on-board USB RTL8188EU.
 * Source: factory script.bin, [wifi_para] wifi_mod_sel=6 (rtl8188eu, USB),
 *         wifi_power="axp22_aldo1"; [pmu_para] pmu_twi_id=1, addr=0x34.
 * Keep every other rail at boot state so DLDO1 (gmac PHY) is not switched off.
 */

&i2c1 {
	status = "okay";
    clock-frequency = <400000>;

	axp22x: pmic@34 {
		compatible = "x-powers,axp221";	/* AXP221S is axp221 compatible */
		reg = <0x34>;
	};
};

#include "axp22x.dtsi"

/* vcc-wifi: USB RTL8188EU module power */
&reg_aldo1 {
	regulator-always-on;
	regulator-min-microvolt = <3300000>;
	regulator-max-microvolt = <3300000>;
	regulator-name = "vcc-wifi";
};

/* Preserve boot0/U-Boot voltage on all other rails; no override. */
&reg_dcdc1  { regulator-always-on; };
&reg_dcdc2  { regulator-always-on; };
&reg_dcdc3  { regulator-always-on; };
&reg_dcdc4  { regulator-always-on; };
&reg_dcdc5  { regulator-always-on; };
&reg_dc1sw  { regulator-always-on; };
&reg_dc5ldo { regulator-always-on; };
&reg_aldo2  { regulator-always-on; };
&reg_aldo3  { regulator-always-on; };
&reg_dldo1  { regulator-always-on; };	/* gmac PHY, fex gmac_power */
&reg_dldo2  { regulator-always-on; };
&reg_dldo3  { regulator-always-on; };
&reg_dldo4  { regulator-always-on; };
&reg_eldo1  { regulator-always-on; };
&reg_eldo2  { regulator-always-on; };
&reg_eldo3  { regulator-always-on; };
